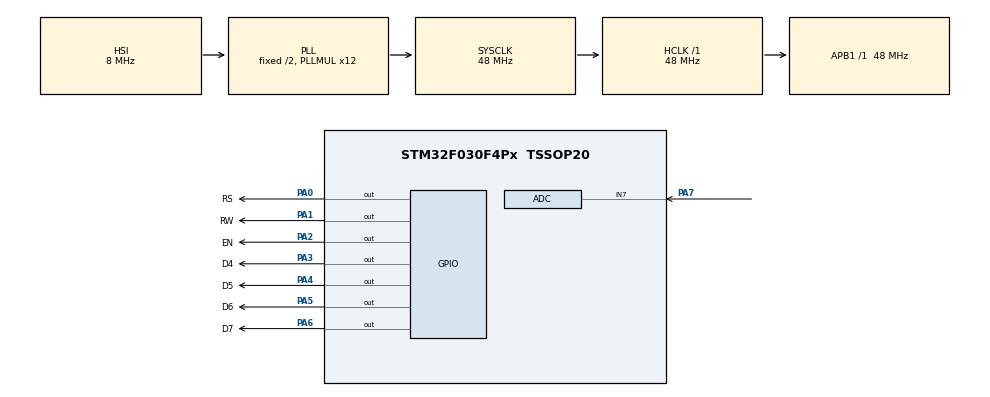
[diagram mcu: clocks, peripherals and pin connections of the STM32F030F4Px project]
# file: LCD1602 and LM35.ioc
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ADC.Resolution=ADC_RESOLUTION_10B
ADC.SamplingTime=ADC_SAMPLETIME_55CYCLES_5
Mcu.Family=STM32F0
Mcu.Name=STM32F030F4Px
Mcu.Package=TSSOP20
PA0.GPIO_Label=RS
PA0.Signal=GPIO_Output
PA1.GPIO_Label=RW
PA1.Signal=GPIO_Output
PA2.GPIO_Label=EN
PA2.Signal=GPIO_Output
PA3.GPIO_Label=D4
PA3.Signal=GPIO_Output
PA4.GPIO_Label=D5
PA4.Signal=GPIO_Output
PA5.GPIO_Label=D6
PA5.Signal=GPIO_Output
PA6.GPIO_Label=D7
PA6.Signal=GPIO_Output
PA7.Mode=IN7
PA7.Signal=ADC_IN7
PF0-OSC_IN.Mode=HSE-External-Oscillator
PF0-OSC_IN.Signal=RCC_OSC_IN
PF1-OSC_OUT.Mode=HSE-External-Oscillator
PF1-OSC_OUT.Signal=RCC_OSC_OUT
ProjectManager.HeapSize=0x200
ProjectManager.StackSize=0x400
ProjectManager.TargetToolchain=STM32CubeIDE
RCC.AHBFreq_Value=48000000
RCC.APB1Freq_Value=48000000
RCC.APB1TimFreq_Value=48000000
RCC.HCLKFreq_Value=48000000
RCC.HSE_VALUE=16000000
RCC.PLLMUL=RCC_PLL_MUL12
RCC.SYSCLKFreq_VALUE=48000000
RCC.SYSCLKSource=RCC_SYSCLKSOURCE_PLLCLK
TIM1.Period=0xffff-1
TIM1.Prescaler=48-1
VP_TIM1_VS_ClockSourceINT.Mode=Internal
board=custom

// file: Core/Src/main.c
/* USER CODE BEGIN Header */
/**
  ******************************************************************************
  * @file           : main.c
  * @brief          : Main program body
  ******************************************************************************
  * @attention
  *
  * Copyright (c) 2024 STMicroelectronics.
  * All rights reserved.
  *
  * This software is licensed under terms that can be found in the LICENSE file
  * in the root directory of this software component.
  * If no LICENSE file comes with this software, it is provided AS-IS.
  *
  ******************************************************************************
  */
/* USER CODE END Header */
#include "main.h"

/* USER CODE BEGIN Includes */
#include "LCD1602.h"

/* USER CODE END Includes */

/* USER CODE BEGIN PD */

float LM35_Read(uint16_t ADCvalue , float Ref_voltage, uint16_t bit_Resulation){

	float voltage  = ( ADCvalue * Ref_voltage) / bit_Resulation;

	float Temp = voltage / 0.01;

    return Temp;
}

/* USER CODE END PD */

ADC_HandleTypeDef hadc;

TIM_HandleTypeDef htim1;

void SystemClock_Config(void);
static void MX_GPIO_Init(void);
static void MX_TIM1_Init(void);
static void MX_ADC_Init(void);

/* USER CODE BEGIN 0 */
float temp = 0.0;     // Init int value
uint16_t adcvalue =0;

/* USER CODE END 0 */

int main(void)
{

  /* MCU Configuration--------------------------------------------------------*/

  /* Reset of all peripherals, Initializes the Flash interface and the Systick. */
  HAL_Init();

  /* Configure the system clock */
  SystemClock_Config();

  /* Initialize all configured peripherals */
  MX_GPIO_Init();
  MX_TIM1_Init();
  MX_ADC_Init();
  /* USER CODE BEGIN 2 */

  HAL_TIM_Base_Start(&htim1);  // Timer On and init this line
  lcd_init();                //LCD init

  /* USER CODE END 2 */

  /* Infinite loop */
  /* USER CODE BEGIN WHILE */

  lcd_xy(0, 4);   // set curser postion

  LCD_String("LM35 Temp");  // Print String

  while (1)
  {
    /* USER CODE END WHILE */

    /* USER CODE BEGIN 3 */

	HAL_ADC_Start(&hadc);
    HAL_ADC_PollForConversion(&hadc,200);
    adcvalue = HAL_ADC_GetValue(&hadc);

    temp = LM35_Read(adcvalue, 3.3, 1023);

	lcd_xy(1, 5);
	LCD_floatValue(temp,2);
	LCD_String("\337C");  // for degree celcus
	HAL_Delay(500);

  }
  /* USER CODE END 3 */
}

void SystemClock_Config(void)
{
  RCC_OscInitTypeDef RCC_OscInitStruct = {0};
  RCC_ClkInitTypeDef RCC_ClkInitStruct = {0};

  /** Initializes the RCC Oscillators according to the specified parameters
  * in the RCC_OscInitTypeDef structure.
  */
  RCC_OscInitStruct.OscillatorType = RCC_OSCILLATORTYPE_HSI|RCC_OSCILLATORTYPE_HSI14;
  RCC_OscInitStruct.HSIState = RCC_HSI_ON;
  RCC_OscInitStruct.HSI14State = RCC_HSI14_ON;
  RCC_OscInitStruct.HSICalibrationValue = RCC_HSICALIBRATION_DEFAULT;
  RCC_OscInitStruct.HSI14CalibrationValue = 16;
  RCC_OscInitStruct.PLL.PLLState = RCC_PLL_ON;
  RCC_OscInitStruct.PLL.PLLSource = RCC_PLLSOURCE_HSI;
  RCC_OscInitStruct.PLL.PLLMUL = RCC_PLL_MUL12;
  RCC_OscInitStruct.PLL.PREDIV = RCC_PREDIV_DIV1;
  if (HAL_RCC_OscConfig(&RCC_OscInitStruct) != HAL_OK)
  {
    Error_Handler();
  }

  /** Initializes the CPU, AHB and APB buses clocks
  */
  RCC_ClkInitStruct.ClockType = RCC_CLOCKTYPE_HCLK|RCC_CLOCKTYPE_SYSCLK
                              |RCC_CLOCKTYPE_PCLK1;
  RCC_ClkInitStruct.SYSCLKSource = RCC_SYSCLKSOURCE_PLLCLK;
  RCC_ClkInitStruct.AHBCLKDivider = RCC_SYSCLK_DIV1;
  RCC_ClkInitStruct.APB1CLKDivider = RCC_HCLK_DIV1;

  if (HAL_RCC_ClockConfig(&RCC_ClkInitStruct, FLASH_LATENCY_1) != HAL_OK)
  {
    Error_Handler();
  }
}

static void MX_ADC_Init(void)
{

  ADC_ChannelConfTypeDef sConfig = {0};

  /** Configure the global features of the ADC (Clock, Resolution, Data Alignment and number of conversion)
  */
  hadc.Instance = ADC1;
  hadc.Init.ClockPrescaler = ADC_CLOCK_ASYNC_DIV1;
  hadc.Init.Resolution = ADC_RESOLUTION_10B;
  hadc.Init.DataAlign = ADC_DATAALIGN_RIGHT;
  hadc.Init.ScanConvMode = ADC_SCAN_DIRECTION_FORWARD;
  hadc.Init.EOCSelection = ADC_EOC_SINGLE_CONV;
  hadc.Init.LowPowerAutoWait = DISABLE;
  hadc.Init.LowPowerAutoPowerOff = DISABLE;
  hadc.Init.ContinuousConvMode = DISABLE;
  hadc.Init.DiscontinuousConvMode = DISABLE;
  hadc.Init.ExternalTrigConv = ADC_SOFTWARE_START;
  hadc.Init.ExternalTrigConvEdge = ADC_EXTERNALTRIGCONVEDGE_NONE;
  hadc.Init.DMAContinuousRequests = DISABLE;
  hadc.Init.Overrun = ADC_OVR_DATA_PRESERVED;
  if (HAL_ADC_Init(&hadc) != HAL_OK)
  {
    Error_Handler();
  }

  /** Configure for the selected ADC regular channel to be converted.
  */
  sConfig.Channel = ADC_CHANNEL_7;
  sConfig.Rank = ADC_RANK_CHANNEL_NUMBER;
  sConfig.SamplingTime = ADC_SAMPLETIME_55CYCLES_5;
  if (HAL_ADC_ConfigChannel(&hadc, &sConfig) != HAL_OK)
  {
    Error_Handler();
  }

}

static void MX_TIM1_Init(void)
{

  TIM_ClockConfigTypeDef sClockSourceConfig = {0};
  TIM_MasterConfigTypeDef sMasterConfig = {0};

  htim1.Instance = TIM1;
  htim1.Init.Prescaler = 48-1;
  htim1.Init.CounterMode = TIM_COUNTERMODE_UP;
  htim1.Init.Period = 0xffff-1;
  htim1.Init.ClockDivision = TIM_CLOCKDIVISION_DIV1;
  htim1.Init.RepetitionCounter = 0;
  htim1.Init.AutoReloadPreload = TIM_AUTORELOAD_PRELOAD_DISABLE;
  if (HAL_TIM_Base_Init(&htim1) != HAL_OK)
  {
    Error_Handler();
  }
  sClockSourceConfig.ClockSource = TIM_CLOCKSOURCE_INTERNAL;
  if (HAL_TIM_ConfigClockSource(&htim1, &sClockSourceConfig) != HAL_OK)
  {
    Error_Handler();
  }
  sMasterConfig.MasterOutputTrigger = TIM_TRGO_RESET;
  sMasterConfig.MasterSlaveMode = TIM_MASTERSLAVEMODE_DISABLE;
  if (HAL_TIMEx_MasterConfigSynchronization(&htim1, &sMasterConfig) != HAL_OK)
  {
    Error_Handler();
  }

}

static void MX_GPIO_Init(void)
{
  GPIO_InitTypeDef GPIO_InitStruct = {0};

  /* GPIO Ports Clock Enable */
  __HAL_RCC_GPIOF_CLK_ENABLE();
  __HAL_RCC_GPIOA_CLK_ENABLE();

  /*Configure GPIO pin Output Level */
  HAL_GPIO_WritePin(GPIOA, RS_Pin|RW_Pin|EN_Pin|D4_Pin
                          |D5_Pin|D6_Pin|D7_Pin, GPIO_PIN_RESET);

  /*Configure GPIO pins : RS_Pin RW_Pin EN_Pin D4_Pin
                           D5_Pin D6_Pin D7_Pin */
  GPIO_InitStruct.Pin = RS_Pin|RW_Pin|EN_Pin|D4_Pin
                          |D5_Pin|D6_Pin|D7_Pin;
  GPIO_InitStruct.Mode = GPIO_MODE_OUTPUT_PP;
  GPIO_InitStruct.Pull = GPIO_NOPULL;
  GPIO_InitStruct.Speed = GPIO_SPEED_FREQ_LOW;
  HAL_GPIO_Init(GPIOA, &GPIO_InitStruct);

}

void Error_Handler(void)
{
  __disable_irq();
  while (1)
  {
  }
}
